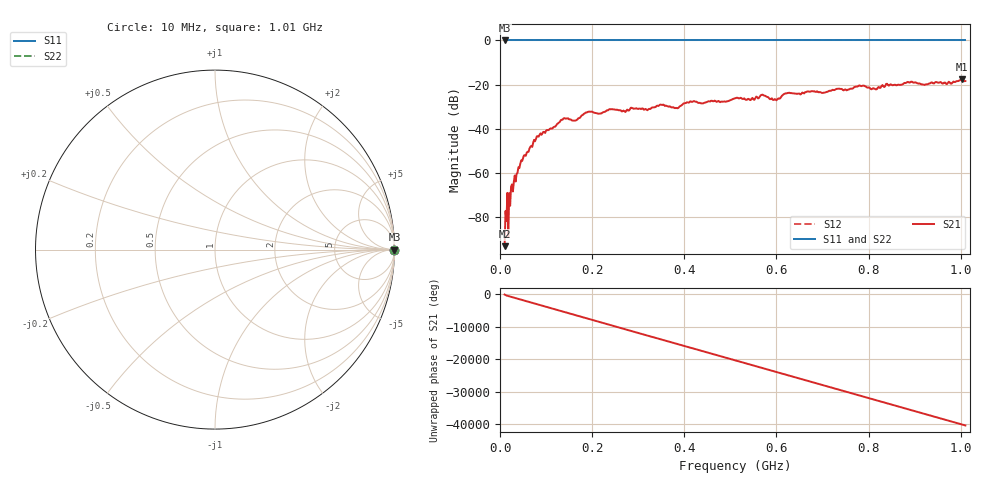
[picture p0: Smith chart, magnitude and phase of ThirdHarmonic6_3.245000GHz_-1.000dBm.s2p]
! 8/17/2025 9:58:24 AM
! C:\ANRITSUVNA\TEMP\TEMP.S2P
! CHANNEL.1
! TR.MEASUREMENT
! RAW.DATA
! RF.CORRECTION.OFF
! AVERAGING.OFF
! IF.BANDWIDTH: 5KHZ
! SWEEPTYPE:  FREQ.SWEEP(Linear)
! Reference Plane Port Info
! PORT:  PORT1  PORT2
! DISTANCE:  0  m  0  m
! TIME:  0  s  0  s
! PHASE.OFFSET:  0  deg.  0  deg.
! LOSS:  0  dB  0  dB
! REF.LOSS:  0  dB  0  dB
! REF.FREQ:  0  Hz  0  Hz
! Power Info
! POWER:  -20  dBm  -20  dBm
! EFF.POWER:  -20  dBm  -20  dBm
! SOURCE.ATTEN:  0  dB  0  dB
! TEST.ATTEN:  0  dB  0  dB
# GHZ S RI R 50.0
! FREQ.GHZ  S11RE  S11IM  S21RE  S21IM  S12RE  S12IM  S22RE  S22IM
!; PortSelection: Port_12
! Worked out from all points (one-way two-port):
!   501 points, 10 MHz to 1.01 GHz, reference 50 ohm
!   highest |S21| = -17.61 dB at 1.002 GHz (marker M1); lowest = -93.0 dB at 10 MHz (marker M2)
!   lowest |S11| = 0.0 dB at 10 MHz (marker M3)
!   |S11| at or under -10 dB: nowhere
!   |S22| runs from 0.0 to 0.0 dB; largest |S21 - S12| = 1.1
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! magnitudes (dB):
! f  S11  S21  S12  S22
! 10 MHz  0.0  -93.0  0.0  0.0
! 18 MHz  0.0  -88.7  0.0  0.0
! 28 MHz  0.0  -68.2  0.0  0.0
! 44 MHz  0.0  -55.8  0.0  0.0
! 78 MHz  0.0  -44.5  0.0  0.0
! 136 MHz  0.0  -35.8  0.0  0.0
! 162 MHz  0.0  -36.3  0.0  0.0
! 178 MHz  0.0  -33.8  0.0  0.0
! 344 MHz  0.0  -29.6  0.0  0.0
! 382 MHz  0.0  -30.5  0.0  0.0
! 416 MHz  0.0  -27.8  0.0  0.0
! 510 MHz  0.0  -26.1  0.0  0.0
! 548 MHz  0.0  -26.0  0.0  0.0
! 570 MHz  0.0  -24.5  0.0  0.0
! 596 MHz  0.0  -26.5  0.0  0.0
! 622 MHz  0.0  -23.9  0.0  0.0
! 678 MHz  0.0  -22.9  0.0  0.0
! 784 MHz  0.0  -20.7  0.0  0.0
! 814 MHz  0.0  -21.9  0.0  0.0
! 844 MHz  0.0  -20.4  0.0  0.0
! 1.002 GHz  0.0  -17.6  0.0  0.0
! 1.01 GHz  0.0  -18.4  0.0  0.0
